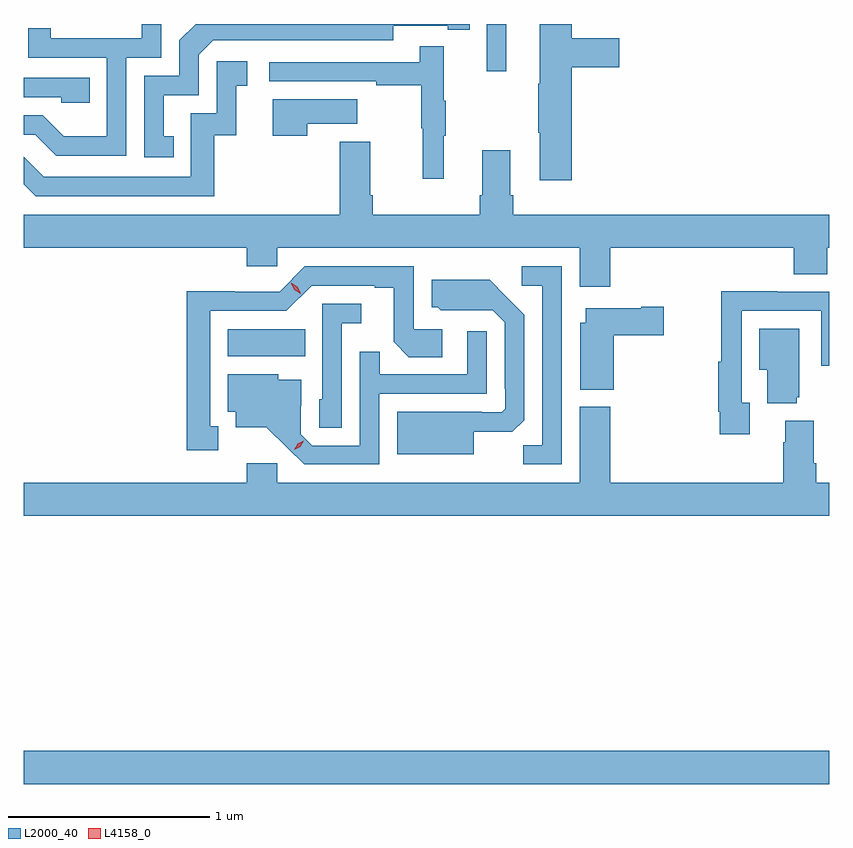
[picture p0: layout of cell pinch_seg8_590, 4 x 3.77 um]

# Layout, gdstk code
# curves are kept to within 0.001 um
import gdstk
lib = gdstk.Library(unit=1e-6, precision=1e-09)
def R(c, l, rs):  # rectangles x0, y0, x1, y1
    for r in rs: c.add(gdstk.rectangle(r[:2], r[2:], *l))
def P(c, l, *ps):  # polygons
    for p in ps: c.add(gdstk.Polygon(p, *l))
L2000_40 = (2000, 40)
L4158_0 = (4158, 0)

pinch_seg8_590 = lib.new_cell('pinch_seg8_590')
R(pinch_seg8_590, L2000_40, [(145.016,1099.184,149.016,1099.348), (146.03,1101.308,146.414,1101.442), (147.315,1102.725,147.412,1102.959)])
P(pinch_seg8_590, L2000_40, [(147.737,1102.745),(147.973,1102.745),(147.973,1102.887),(147.737,1102.887),(147.737,1102.959),(147.578,1102.959),(147.578,1102.661),(147.571,1102.661),(147.571,1102.42),(147.578,1102.42),(147.578,1102.182),(147.737,1102.182)],
  [(145.524,1102.791),(145.698,1102.791),(145.698,1102.959),(145.601,1102.959),(145.601,1102.887),(145.15,1102.887),(145.15,1102.939),(145.039,1102.939),(145.039,1102.791),(145.428,1102.791),(145.428,1102.402),(145.214,1102.402),(145.11,1102.506),(145.016,1102.506),(145.016,1102.41),(145.073,1102.41),(145.178,1102.305),(145.524,1102.305)],
  [(145.76,1102.401),(145.711,1102.401),(145.711,1102.605),(145.884,1102.605),(145.884,1102.806),(145.956,1102.878),(146.85,1102.878),(146.85,1102.95),(147.122,1102.95),(147.122,1102.93),(147.23,1102.93),(147.23,1102.959),(145.869,1102.959),(145.788,1102.878),(145.788,1102.701),(145.614,1102.701),(145.614,1102.296),(145.76,1102.296)],
  [(147.101,1102.403),(147.112,1102.403),(147.112,1102.577),(147.101,1102.577),(147.101,1102.849),(146.983,1102.849),(146.983,1102.77),(146.235,1102.77),(146.235,1102.674),(146.767,1102.674),(146.767,1102.654),(146.991,1102.654),(146.991,1102.44),(146.998,1102.44),(146.998,1102.191),(147.101,1102.191)],
  [(145.961,1102.407),(146.072,1102.407),(146.072,1102.653),(146.125,1102.653),(146.125,1102.774),(145.974,1102.774),(145.974,1102.515),(145.845,1102.515),(145.845,1102.2),(145.116,1102.2),(145.016,1102.3),(145.016,1102.162),(145.074,1102.104),(145.961,1102.104)],
  [(145.343,1102.692),(145.016,1102.692),(145.016,1102.596),(145.203,1102.596),(145.203,1102.569),(145.343,1102.569)],
  [(146.423,1102.463),(146.671,1102.463),(146.671,1102.585),(146.252,1102.585),(146.252,1102.404),(146.423,1102.404)],
  [(147.929,1101.848),(148.841,1101.848),(148.841,1101.715),(149.006,1101.715),(149.006,1101.848),(149.016,1101.848),(149.016,1102.012),(147.446,1102.012),(147.446,1102.108),(147.433,1102.108),(147.433,1102.333),(147.293,1102.333),(147.293,1102.108),(147.281,1102.108),(147.281,1102.012),(146.75,1102.012),(146.75,1102.108),(146.737,1102.108),(146.737,1102.375),(146.585,1102.375),(146.585,1102.012),(145.016,1102.012),(145.016,1101.848),(146.123,1101.848),(146.123,1101.755),(146.274,1101.755),(146.274,1101.848),(147.776,1101.848),(147.776,1101.654),(147.929,1101.654)],
  [(147.687,1101.756),(147.489,1101.756),(147.489,1101.66),(147.591,1101.66),(147.591,1100.867),(147.496,1100.867),(147.496,1100.772),(147.687,1100.772)],
  [(145.981,1100.961),(145.942,1100.961),(145.942,1101.534),(146.319,1101.534),(146.445,1101.66),(146.759,1101.66),(146.759,1101.648),(146.853,1101.648),(146.853,1101.38),(146.929,1101.304),(147.094,1101.304),(147.094,1101.444),(146.952,1101.444),(146.952,1101.756),(146.412,1101.756),(146.286,1101.63),(146.064,1101.63),(146.064,1101.632),(145.824,1101.632),(145.824,1100.841),(145.981,1100.841)],
  [(147.25,1100.933),(147.442,1100.933),(147.501,1100.992),(147.501,1101.514),(147.329,1101.688),(147.041,1101.688),(147.041,1101.552),(147.072,1101.552),(147.088,1101.536),(147.345,1101.537),(147.405,1101.477),(147.405,1101.148),(147.408,1101.148),(147.408,1101.048),(147.39,1101.03),(147.29,1101.03),(147.29,1101.034),(146.87,1101.034),(146.87,1100.822),(147.25,1100.822)],
  [(148.621,1101.078),(148.581,1101.078),(148.581,1101.534),(148.977,1101.534),(148.977,1101.261),(149.016,1101.261),(149.016,1101.63),(148.757,1101.63),(148.757,1101.632),(148.48,1101.632),(148.48,1101.281),(148.465,1101.281),(148.465,1101.034),(148.473,1101.034),(148.473,1100.922),(148.621,1100.922)],
  [(146.595,1101.473),(146.692,1101.473),(146.692,1101.57),(146.499,1101.57),(146.499,1101.096),(146.484,1101.096),(146.484,1100.953),(146.595,1100.953)],
  [(147.946,1101.413),(148.195,1101.413),(148.195,1101.555),(148.082,1101.555),(148.082,1101.547),(147.806,1101.547),(147.806,1101.474),(147.779,1101.474),(147.779,1101.143),(147.946,1101.143)],
  [(148.856,1101.105),(148.867,1101.105),(148.867,1101.445),(148.67,1101.445),(148.67,1101.242),(148.709,1101.242),(148.709,1101.074),(148.856,1101.074)],
  [(146.781,1101.123),(147.315,1101.123),(147.315,1101.433),(147.219,1101.433),(147.219,1101.219),(146.783,1101.219),(146.783,1101.332),(146.685,1101.332),(146.685,1100.865),(146.448,1100.865),(146.391,1100.922),(146.391,1101.064),(146.395,1101.064),(146.395,1101.193),(146.28,1101.193),(146.28,1101.22),(146.03,1101.22),(146.03,1101.033),(146.069,1101.033),(146.069,1100.957),(146.221,1100.957),(146.408,1100.772),(146.781,1100.772)],
  [(149.016,1100.68),(148.952,1100.68),(148.952,1100.776),(148.939,1100.776),(148.939,1100.989),(148.799,1100.989),(148.799,1100.882),(148.787,1100.882),(148.787,1100.68),(147.929,1100.68),(147.929,1101.058),(147.776,1101.058),(147.776,1100.68),(146.274,1100.68),(146.274,1100.776),(146.123,1100.776),(146.123,1100.68),(145.016,1100.68),(145.016,1100.516),(149.016,1100.516)])
P(pinch_seg8_590, L4158_0, [(146.359,1100.845),(146.359,1100.845),(146.376,1100.875),(146.406,1100.89),(146.406,1100.89),(146.406,1100.89),(146.389,1100.86),(146.359,1100.845)],
  [(146.392,1101.62),(146.36,1101.64),(146.343,1101.672),(146.343,1101.673),(146.344,1101.673),(146.375,1101.653),(146.392,1101.621),(146.392,1101.62)])

lib.write_gds('pinch_seg8_590.gds')
